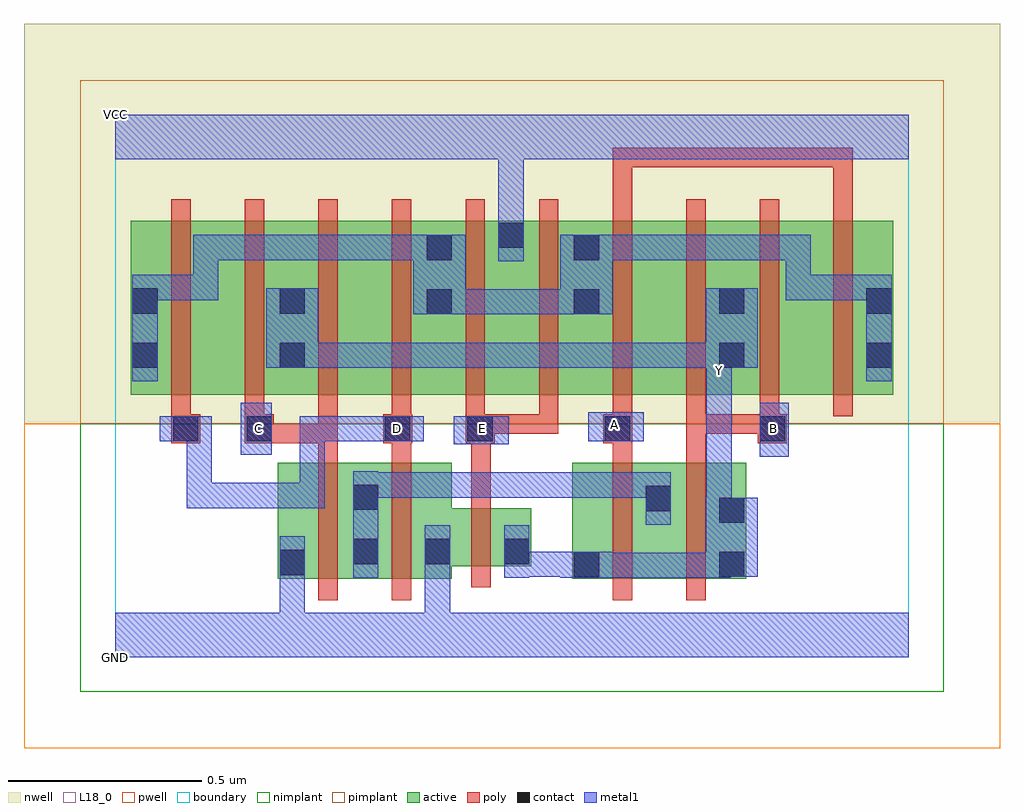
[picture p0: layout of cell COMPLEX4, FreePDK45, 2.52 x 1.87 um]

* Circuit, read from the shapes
.subckt COMPLEX4 A B C D E GND VCC Y
M1 n1 C GND VSUBS nfet w=0.3u l=0.05u
M2 GND D n1 VSUBS nfet w=0.3u l=0.05u
M3 Y E GND VSUBS nfet w=0.15u l=0.05u
M4 n1 A Y VSUBS nfet w=0.3u l=0.05u
M5 Y B n1 VSUBS nfet w=0.3u l=0.05u
M6 n2 D n3 n4 pfet w=0.45u l=0.05u
M7 Y C n2 n4 pfet w=0.45u l=0.05u
M8 n5 C Y n4 pfet w=0.45u l=0.05u
M9 n3 D n5 n4 pfet w=0.45u l=0.05u
M10 VCC E n3 n4 pfet w=0.45u l=0.05u m=2
M11 n6 A n3 n4 pfet w=0.45u l=0.05u
M12 Y B n6 n4 pfet w=0.45u l=0.05u
M13 n7 B Y n4 pfet w=0.45u l=0.05u
M14 n3 A n7 n4 pfet w=0.45u l=0.05u
.ends

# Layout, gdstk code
import gdstk
lib = gdstk.Library(unit=1e-6, precision=1e-09)
def R(c, l, rs):  # rectangles x0, y0, x1, y1
    for r in rs: c.add(gdstk.rectangle(r[:2], r[2:], *l))
def A(c, l, x, y, w, h, nx, ny, dx, dy):  # array of equal rectangles
    R(c, l, [(x+i*dx, y+j*dy, x+i*dx+w, y+j*dy+h) for i in range(nx) for j in range(ny)])
active = (1, 0)
pwell = (2, 0)
nwell = (3, 0)
nimplant = (4, 0)
pimplant = (5, 0)
poly = (9, 0)
contact = (10, 0)
metal1 = (11, 0)
L18_0 = (18, 0)
boundary = (235, 0)

complex4 = lib.new_cell('COMPLEX4')
R(complex4, active, [(0.42,0.202,0.495,0.502), (0.42,0.202,0.685,0.502), (0.61,0.202,0.87,0.502), (1.18,0.202,1.255,0.502), (1.18,0.202,1.44,0.502), (1.365,0.202,1.63,0.502), (1.555,0.202,1.63,0.502), (0.61,0.235,0.685,0.45), (0.795,0.235,1.075,0.385), (0.795,0.235,0.87,0.31), (1,0.235,1.075,0.385), (1.365,0.247,1.44,0.447), (0.04,0.677,0.115,1.107), (0.04,0.677,0.265,1.127), (0.265,0.677,0.495,1.127), (0.42,0.677,0.645,1.127), (0.42,0.677,0.495,1.07), (0.645,0.677,0.875,1.127), (0.8,0.677,1.06,1.127), (0.985,0.677,1.255,1.127), (1.18,0.677,1.405,1.127), (1.405,0.677,1.63,1.127), (1.555,0.677,1.785,1.127), (1.555,0.677,1.63,1.07), (1.785,0.677,2.01,1.127), (1.935,0.677,2.01,1.107), (0.8,0.812,0.875,1.107), (1.18,0.812,1.255,1.107), (0.985,0.852,1.06,1.127)])
R(complex4, pwell, [(-0.235,-0.235,2.285,0.602)])
R(complex4, nwell, [(-0.235,0.602,2.285,1.635)])
R(complex4, nimplant, [(-0.09,-0.09,2.14,0.602)])
R(complex4, pimplant, [(-0.09,0.602,2.14,1.49)])
A(complex4, poly, 0.715, 0.577, 0.05, 0.095, 6, 1, 0.19, 0)
A(complex4, poly, 0.145, 0.622, 0.05, 0.56, 10, 1, 0.19, 0)
R(complex4, poly, [(0.525,0.147,0.575,0.557), (0.715,0.147,0.765,0.557), (1.285,0.147,1.335,0.557), (1.475,0.147,1.525,0.557), (0.92,0.18,0.97,0.44), (0.92,0.39,0.97,0.602), (0.525,0.507,0.575,0.602), (0.715,0.507,0.765,0.602), (1.285,0.507,1.335,0.602), (1.475,0.507,1.525,0.627), (0.145,0.552,0.22,0.627), (0.335,0.552,0.41,0.627), (0.36,0.552,0.575,0.602), (0.525,0.552,0.575,0.602), (0.525,0.552,0.575,0.602), (0.525,0.552,0.575,0.602), (0.525,0.552,0.575,0.672), (0.692,0.552,0.767,0.627), (0.905,0.552,0.98,0.627), (1.26,0.552,1.335,0.627), (1.66,0.552,1.735,0.627), (0.145,0.577,0.195,0.672), (0.335,0.577,0.385,0.672), (0.93,0.577,1.145,0.627), (1.095,0.577,1.145,0.627), (1.095,0.577,1.145,0.627), (1.095,0.577,1.145,0.627), (1.475,0.577,1.525,0.627), (1.475,0.577,1.525,0.627), (1.475,0.577,1.525,0.627), (1.475,0.577,1.71,0.627), (1.285,1.132,1.335,1.315), (1.855,1.132,1.905,1.315), (1.285,1.265,1.335,1.315), (1.285,1.265,1.335,1.315), (1.285,1.265,1.335,1.315), (1.285,1.265,1.577,1.315), (1.527,1.265,1.577,1.315), (1.527,1.265,1.577,1.315), (1.527,1.265,1.577,1.315), (1.527,1.265,1.772,1.315), (1.722,1.265,1.905,1.315), (1.722,1.265,1.772,1.315), (1.722,1.265,1.772,1.315), (1.722,1.265,1.772,1.315), (1.855,1.265,1.905,1.315)])
R(complex4, contact, [(1.185,0.207,1.25,0.272), (1.56,0.207,1.625,0.272), (0.425,0.212,0.49,0.277), (0.615,0.24,0.68,0.305), (0.8,0.24,0.865,0.305), (1.005,0.24,1.07,0.305), (1.56,0.347,1.625,0.412), (1.37,0.377,1.435,0.442), (0.615,0.38,0.68,0.445), (0.15,0.557,0.215,0.622), (0.34,0.557,0.405,0.622), (0.697,0.557,0.762,0.622), (0.91,0.557,0.975,0.622), (1.265,0.557,1.33,0.622), (1.665,0.557,1.73,0.622), (0.045,0.747,0.11,0.812), (0.425,0.747,0.49,0.812), (1.56,0.747,1.625,0.812), (1.94,0.747,2.005,0.812), (0.805,0.885,0.87,0.95), (1.185,0.885,1.25,0.95), (0.045,0.887,0.11,0.952), (0.425,0.887,0.49,0.952), (1.56,0.887,1.625,0.952), (1.94,0.887,2.005,0.952), (0.805,1.025,0.87,1.09), (1.185,1.025,1.25,1.09), (0.99,1.057,1.055,1.122)])
R(complex4, metal1, [(0,0,2.05,0.115), (0.425,0.05,0.49,0.115), (0.425,0.05,0.49,0.115), (0.425,0.05,0.49,0.242), (0.8,0.05,0.865,0.27), (0.425,0.177,0.49,0.312), (0.615,0.205,0.68,0.48), (0.8,0.205,0.865,0.27), (0.8,0.205,0.865,0.27), (0.8,0.205,0.865,0.34), (1.005,0.205,1.07,0.34), (1.15,0.205,1.285,0.272), (1.22,0.205,1.435,0.27), (1.37,0.205,1.435,0.27), (1.37,0.205,1.435,0.27), (1.37,0.205,1.435,0.27), (1.37,0.205,1.59,0.27), (1.525,0.205,1.59,0.27), (1.525,0.205,1.59,0.27), (1.525,0.205,1.59,0.27), (1.525,0.205,1.59,0.272), (1.005,0.207,1.07,0.272), (1.005,0.207,1.07,0.272), (1.005,0.207,1.215,0.272), (1.525,0.207,1.66,0.412), (1.37,0.342,1.435,0.477), (1.527,0.347,1.592,0.737), (0.185,0.385,0.25,0.45), (0.185,0.385,0.405,0.45), (0.185,0.385,0.25,0.622), (0.34,0.385,0.405,0.45), (0.34,0.385,0.542,0.45), (0.477,0.385,0.542,0.45), (0.477,0.385,0.542,0.622), (0.615,0.412,0.68,0.477), (0.615,0.412,0.68,0.477), (0.615,0.412,0.917,0.477), (0.852,0.412,0.917,0.477), (0.852,0.412,0.917,0.477), (0.852,0.412,0.917,0.477), (0.852,0.412,1.07,0.477), (1.005,0.412,1.07,0.477), (1.005,0.412,1.07,0.477), (1.005,0.412,1.07,0.477), (1.005,0.412,1.207,0.477), (1.142,0.412,1.207,0.477), (1.142,0.412,1.435,0.477), (1.37,0.412,1.435,0.477), (1.37,0.412,1.435,0.477), (1.665,0.517,1.74,0.657), (0.325,0.522,0.405,0.657), (0.875,0.55,1.017,0.622), (0.115,0.557,0.25,0.622), (0.185,0.557,0.25,0.622), (0.185,0.557,0.25,0.622), (0.477,0.557,0.542,0.622), (0.477,0.557,0.542,0.622), (0.477,0.557,0.542,0.622), (0.477,0.557,0.697,0.622), (0.632,0.557,0.697,0.622), (0.632,0.557,0.727,0.622), (0.662,0.557,0.797,0.622), (1.222,0.557,1.365,0.632), (1.527,0.672,1.592,0.812), (0.045,0.712,0.11,0.987), (1.94,0.712,2.005,0.987), (0.39,0.747,0.525,0.952), (0.46,0.747,0.542,0.812), (0.477,0.747,0.542,0.812), (0.477,0.747,0.697,0.812), (0.632,0.747,0.697,0.812), (0.632,0.747,0.697,0.812), (0.632,0.747,0.697,0.812), (0.632,0.747,0.892,0.812), (0.827,0.747,0.892,0.812), (0.827,0.747,0.892,0.812), (0.827,0.747,0.892,0.812), (0.827,0.747,1.07,0.812), (1.005,0.747,1.07,0.812), (1.005,0.747,1.07,0.812), (1.005,0.747,1.07,0.812), (1.005,0.747,1.207,0.812), (1.142,0.747,1.207,0.812), (1.142,0.747,1.422,0.812), (1.357,0.747,1.422,0.812), (1.357,0.747,1.422,0.812), (1.357,0.747,1.422,0.812), (1.357,0.747,1.59,0.812), (1.525,0.747,1.59,0.812), (1.525,0.747,1.59,0.812), (1.525,0.747,1.66,0.952), (1.527,0.747,1.592,0.812), (0.77,0.885,0.905,1.09), (0.84,0.885,0.905,0.95), (0.84,0.885,0.905,0.95), (0.84,0.885,1.07,0.95), (1.005,0.885,1.07,0.95), (1.005,0.885,1.07,0.95), (1.005,0.885,1.07,0.95), (1.005,0.885,1.215,0.95), (1.15,0.885,1.285,1.09), (0.045,0.922,0.11,0.987), (0.045,0.922,0.11,0.987), (0.045,0.922,0.267,0.987), (0.202,0.922,0.267,0.987), (0.202,0.922,0.267,1.09), (1.732,0.922,1.797,0.987), (1.732,0.922,2.005,0.987), (1.732,0.922,1.797,1.09), (1.94,0.922,2.005,0.987), (1.94,0.922,2.005,0.987), (0.99,1.022,1.055,1.157), (0.202,1.025,0.267,1.09), (0.202,1.025,0.405,1.09), (0.34,1.025,0.405,1.09), (0.34,1.025,0.405,1.09), (0.34,1.025,0.405,1.09), (0.34,1.025,0.542,1.09), (0.477,1.025,0.542,1.09), (0.477,1.025,0.697,1.09), (0.632,1.025,0.697,1.09), (0.632,1.025,0.697,1.09), (0.632,1.025,0.697,1.09), (0.632,1.025,0.835,1.09), (1.22,1.025,1.285,1.09), (1.22,1.025,1.285,1.09), (1.22,1.025,1.435,1.09), (1.37,1.025,1.435,1.09), (1.37,1.025,1.572,1.09), (1.507,1.025,1.572,1.09), (1.507,1.025,1.572,1.09), (1.507,1.025,1.572,1.09), (1.507,1.025,1.797,1.09), (1.732,1.025,1.797,1.09), (1.732,1.025,1.797,1.09), (1.732,1.025,1.797,1.09), (0.99,1.092,1.055,1.35), (0,1.285,2.05,1.4), (0.99,1.285,1.055,1.35), (0.99,1.285,1.055,1.35)])
R(complex4, L18_0, [(0,0,2.05,0.115), (0.425,0.05,0.49,0.115), (0.425,0.05,0.49,0.115), (0.425,0.05,0.49,0.242), (0.8,0.05,0.865,0.27), (0.425,0.177,0.49,0.312), (0.8,0.205,0.865,0.27), (0.8,0.205,0.865,0.27), (0.8,0.205,0.865,0.34), (1.005,0.205,1.07,0.34), (1.15,0.205,1.285,0.272), (1.22,0.205,1.435,0.27), (1.37,0.205,1.435,0.27), (1.37,0.205,1.435,0.27), (1.37,0.205,1.435,0.27), (1.37,0.205,1.59,0.27), (1.525,0.205,1.59,0.27), (1.525,0.205,1.59,0.27), (1.525,0.205,1.59,0.27), (1.525,0.205,1.59,0.272), (1.005,0.207,1.07,0.272), (1.005,0.207,1.07,0.272), (1.005,0.207,1.215,0.272), (1.525,0.207,1.66,0.412), (1.527,0.347,1.592,0.737), (0.185,0.385,0.25,0.45), (0.185,0.385,0.25,0.622), (0.185,0.385,0.405,0.45), (0.34,0.385,0.405,0.45), (0.34,0.385,0.542,0.45), (0.477,0.385,0.542,0.45), (0.477,0.385,0.542,0.622), (1.665,0.517,1.74,0.657), (0.325,0.522,0.405,0.657), (0.875,0.55,1.017,0.622), (0.115,0.557,0.25,0.622), (0.185,0.557,0.25,0.622), (0.185,0.557,0.25,0.622), (0.337,0.557,0.402,0.622), (0.477,0.557,0.542,0.622), (0.477,0.557,0.542,0.622), (0.477,0.557,0.542,0.622), (0.477,0.557,0.697,0.622), (0.632,0.557,0.697,0.622), (0.632,0.557,0.727,0.622), (0.662,0.557,0.797,0.622), (0.697,0.557,0.762,0.622), (0.917,0.557,0.982,0.622), (1.222,0.557,1.365,0.632), (1.667,0.557,1.732,0.622), (1.257,0.567,1.322,0.632), (1.527,0.672,1.592,0.812), (1.527,0.707,1.592,0.772), (0.39,0.747,0.525,0.952), (0.46,0.747,0.542,0.812), (0.477,0.747,0.542,0.812), (0.477,0.747,0.697,0.812), (0.632,0.747,0.697,0.812), (0.632,0.747,0.697,0.812), (0.632,0.747,0.697,0.812), (0.632,0.747,0.892,0.812), (0.827,0.747,0.892,0.812), (0.827,0.747,0.892,0.812), (0.827,0.747,0.892,0.812), (0.827,0.747,1.07,0.812), (1.005,0.747,1.07,0.812), (1.005,0.747,1.07,0.812), (1.005,0.747,1.07,0.812), (1.005,0.747,1.207,0.812), (1.142,0.747,1.207,0.812), (1.142,0.747,1.422,0.812), (1.357,0.747,1.422,0.812), (1.357,0.747,1.422,0.812), (1.357,0.747,1.422,0.812), (1.357,0.747,1.59,0.812), (1.525,0.747,1.59,0.812), (1.525,0.747,1.59,0.812), (1.525,0.747,1.66,0.952), (1.527,0.747,1.592,0.812), (0.99,1.022,1.055,1.157), (0.99,1.092,1.055,1.35), (0,1.285,2.05,1.4), (0.99,1.285,1.055,1.35), (0.99,1.285,1.055,1.35)])
R(complex4, boundary, [(0,0,2.05,1.4)])
complex4.add(gdstk.Label('A', (1.29,0.6), layer=11, texttype=0))
complex4.add(gdstk.Label('B', (1.7,0.59), layer=11, texttype=0))
complex4.add(gdstk.Label('C', (0.37,0.59), layer=11, texttype=0))
complex4.add(gdstk.Label('D', (0.73,0.59), layer=11, texttype=0))
complex4.add(gdstk.Label('E', (0.95,0.59), layer=11, texttype=0))
complex4.add(gdstk.Label('Y', (1.56,0.74), layer=11, texttype=0))
complex4.add(gdstk.Label('VCC', (0,1.4), layer=11, texttype=0))
complex4.add(gdstk.Label('GND', (0,0), layer=11, texttype=0))

lib.write_gds('COMPLEX4.gds')
